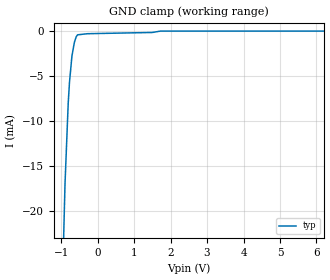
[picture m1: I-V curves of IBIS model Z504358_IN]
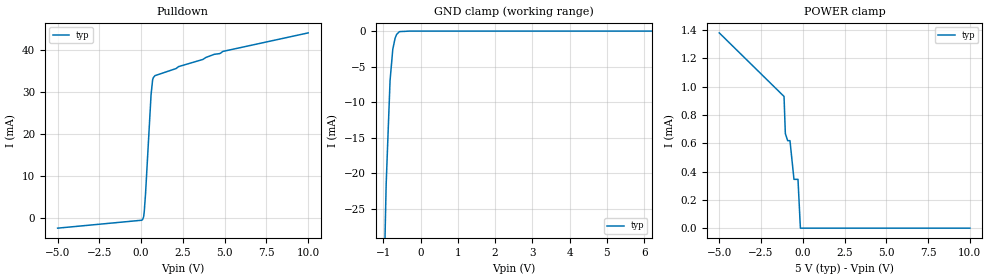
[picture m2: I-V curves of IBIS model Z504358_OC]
| YOU ARE ONLY AUTHORIZED TO USE THIS SOFTWARE
| ACCORDING TO LICENSOR'S LICENSE RESTRICTIONS.
[IBIS Ver] 3.1
[File Name] sn54ls03j.ibs
[File Rev] 2.0
[Source] Measured and created by ICX Technology
[Date] Friday 7/14/00 9:08:13 AM
[Copyright]
| (C) COPYRIGHT 1993-2000
| MENTOR GRAPHICS CORPORATION
| ICX STANDARD LIBRARY, ICX PROJECT MODELING,
| ICX CUSTOM MODELING, ICX VENDOR MODEL
| ALL RIGHTS RESERVED.
| THE FOLLOWING ARE TRADEMARKS OR SERVICE MARKS OF
| MENTOR GRAPHICS CORPORATION:ICX (R), ICX STANDARD
| LIBRARY(R), ICX PROJECT MODELING(R), ICX CUSTOM
| MODELING(R), qualityIBIS(TM), MODELVIEWER(TM),
| AND MODELEDITOR(TM)
| ALL COPIES OF SOFTWARE, INCLUDING BUT NOT LIMITED TO
| ANY MODIFICATIONS, ENHANCEMENTS OR DERIVATIVE WORKS,
| MUST CONTAIN ALL MENTOR GRAPHICS CORPORATION'S
| NOTICES AND LEGENDS, INCLUDING THOSE EMBEDDED IN
| SOFTWARE AND THOSE AFFIXED TO SOFTWARE MEDIUM
| AND CONTAINER, AS RECEIVED FROM MENTOR GRAPHICS
| CORPORATION.
|  ZAP Model Builder 2.7
[Component] SN54LS03J
[Manufacturer] OnSemiconductor
[Package]
| variable   typ   min   max
R_pkg  .21ohms NA NA
L_pkg  4.543nH NA NA
C_pkg  1.8pF NA NA
[Pin] signal_name  model_name  R_pin  L_pin C_pin
1 A Z504358_IN .22 6.757n 2.434p
2 B Z504358_IN .212 4.757n 1.941p
3 Y Z504358_OC .204 3.257n 1.448p
4 A Z504358_IN .196 2.257n .955p
5 B Z504358_IN .204 3.257n 1.448p
6 Y Z504358_OC .212 4.757n 1.941p
7 GND GND .22 6.757n 2.434p
8 Y Z504358_OC .22 6.757n 2.434p
9 A Z504358_IN .212 4.757n 1.941p
10 B Z504358_IN .204 3.257n 1.448p
11 Y Z504358_OC .196 2.257n .955p
12 A Z504358_IN .204 3.257n 1.448p
13 B Z504358_IN .212 4.757n 1.941p
14 VCC POWER .22 6.757n 2.434p
| Models and submodels in the file (2): Z504358_IN (Input), Z504358_OC (Open_sink)
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| (C) COPYRIGHT 1993-2000
| MENTOR GRAPHICS CORPORATION
| ICX STANDARD LIBRARY, ICX PROJECT MODELING,
| ICX CUSTOM MODELING, ICX VENDOR MODEL
| ALL RIGHTS RESERVED.
| THE FOLLOWING ARE TRADEMARKS OR SERVICE MARKS OF
| MENTOR GRAPHICS CORPORATION:ICX (R), ICX STANDARD
| LIBRARY(R), ICX PROJECT MODELING(R), ICX CUSTOM
| MODELING(R), qualityIBIS(TM), MODELVIEWER(TM),
| AND MODELEDITOR(TM)
| ALL COPIES OF SOFTWARE, INCLUDING BUT NOT LIMITED TO
| ANY MODIFICATIONS, ENHANCEMENTS OR DERIVATIVE WORKS,
| MUST CONTAIN ALL MENTOR GRAPHICS CORPORATION'S
| NOTICES AND LEGENDS, INCLUDING THOSE EMBEDDED IN
| SOFTWARE AND THOSE AFFIXED TO SOFTWARE MEDIUM
| AND CONTAINER, AS RECEIVED FROM MENTOR GRAPHICS
| CORPORATION.
| Model Application Version 1.89 2/18/99.
[Model] Z504358_IN
Model_type Input
Vinl = 800.0mV
Vinh = 2.000V
C_comp 4.000pF NA NA
| variable typ   min   max
[Voltage Range] 5.000V NA NA
[GND Clamp Reference] 0.000V NA NA
[POWER Clamp Reference] 5.000V NA NA
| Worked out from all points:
|   GND clamp passes 1 mA (typ) near -0.62 V on its own axis
[GND Clamp]
-5V       -669.3mA   NA         NA
-893.5mV  -17mA      NA         NA
-805.4mV  -8.006mA   NA         NA
-771mV    -5.712mA   NA         NA
-702.9mV  -2.756mA   NA         NA
-634.8mV  -1.227mA   NA         NA
-584.3mV  -618.4uA   NA         NA
-546.9mV  -418.1uA   NA         NA
-273.4mV  -295.9uA   NA         NA
1.505V    -158.4uA   NA         NA
1.724V    -5.706uA   NA         NA
10V       -5.706uA   NA         NA
[POWER Clamp]
-5V       0A         NA         NA
10V       0A         NA         NA
| (C) COPYRIGHT 1993-2000
| MENTOR GRAPHICS CORPORATION
| ICX STANDARD LIBRARY, ICX PROJECT MODELING,
| ICX CUSTOM MODELING, ICX VENDOR MODEL
| ALL RIGHTS RESERVED.
| THE FOLLOWING ARE TRADEMARKS OR SERVICE MARKS OF
| MENTOR GRAPHICS CORPORATION:ICX (R), ICX STANDARD
| LIBRARY(R), ICX PROJECT MODELING(R), ICX CUSTOM
| MODELING(R), qualityIBIS(TM), MODELVIEWER(TM),
| AND MODELEDITOR(TM)
| ALL COPIES OF SOFTWARE, INCLUDING BUT NOT LIMITED TO
| ANY MODIFICATIONS, ENHANCEMENTS OR DERIVATIVE WORKS,
| MUST CONTAIN ALL MENTOR GRAPHICS CORPORATION'S
| NOTICES AND LEGENDS, INCLUDING THOSE EMBEDDED IN
| SOFTWARE AND THOSE AFFIXED TO SOFTWARE MEDIUM
| AND CONTAINER, AS RECEIVED FROM MENTOR GRAPHICS
| CORPORATION.
| Model Application Version 1.89 2/18/99.
[Model] Z504358_OC
Model_type Open_sink
Vref=5.000V
Rref=2.000kohms
Cref=15.00pF
Vmeas=1.300V
C_comp 8.000pF NA NA
| variable typ   min   max
[Voltage Range] 5.000V NA NA
[POWER Clamp Reference] 5.000V NA NA
[Pullup Reference] 5.000V NA NA
[Pulldown Reference] 0.000V NA NA
[GND Clamp Reference] 0.000V NA NA
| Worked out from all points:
|   slope of the pulldown table from 0 to 0.75 V, typ, clamps not added: 21.9 ohm
|   GND clamp passes 1 mA (typ) near -0.68 V on its own axis
[GND Clamp]
-5V       -1.467A    NA         NA
-1.182V   -94.27mA   NA         NA
-1.033V   -47.73mA   NA         NA
-924.5mV  -21.52mA   NA         NA
-820.2mV  -6.967mA   NA         NA
-746.7mV  -2.552mA   NA         NA
-683.7mV  -980.6uA   NA         NA
-644.6mV  -475.3uA   NA         NA
-568.8mV  -75.59uA   NA         NA
-284.4mV  0A         NA         NA
10V       0A         NA         NA
[Pulldown]
-5V       -2.522mA   NA         NA
87.85mV   -480uA     NA         NA
151.3mV   222.5uA    NA         NA
188.2mV   1.486mA    NA         NA
262.5mV   5.59mA     NA         NA
595.7mV   29.42mA    NA         NA
688.7mV   32.94mA    NA         NA
830mV     33.92mA    NA         NA
4.375V    39.01mA    NA         NA
4.696V    39.18mA    NA         NA
4.89V     39.7mA     NA         NA
10V       44.13mA    NA         NA
[POWER Clamp]
-5V       1.379mA    NA         NA
-1.123V   930.1uA    NA         NA
-1.045V   667.7uA    NA         NA
-906.5mV  618.1uA    NA         NA
-768mV    618.1uA    NA         NA
-528mV    344.6uA    NA         NA
-288mV    344.6uA    NA         NA
-144mV    0A         NA         NA
10V       0A         NA         NA
[Ramp]
| variable typ min max
dV/dt_r 2.736/14.41n NA NA
dV/dt_f 2.736/6.488n NA NA
R_load = 250.0Ohms
